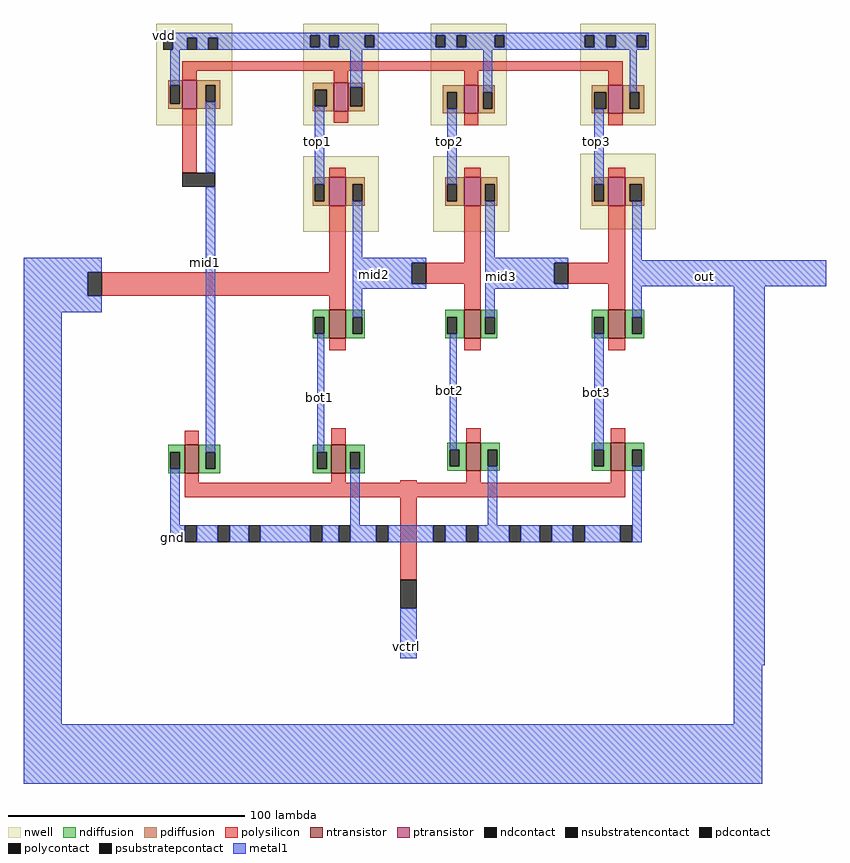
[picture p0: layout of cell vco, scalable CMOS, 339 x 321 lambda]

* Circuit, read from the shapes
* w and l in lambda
.subckt vco bot1 bot2 bot3 gnd mid1 mid2 mid3 out top1 top2 top3 vctrl vdd
M1 mid1 vctrl gnd gnd nfet w=12 l=6
M2 mid2 out bot1 gnd nfet w=12 l=7
M3 gnd vctrl bot1 gnd nfet w=12 l=6
M4 mid3 mid2 bot2 gnd nfet w=12 l=7
M5 gnd vctrl bot2 gnd nfet w=12 l=6
M6 out mid3 bot3 gnd nfet w=12 l=7
M7 gnd vctrl bot3 gnd nfet w=12 l=6
M8 mid1 mid1 vdd vdd pfet w=12 l=6
M9 mid2 out top1 n1 pfet w=12 l=7
M10 vdd mid1 top1 vdd pfet w=12 l=6
M11 mid3 mid2 top2 n2 pfet w=12 l=7
M12 vdd mid1 top2 vdd pfet w=12 l=6
M13 out mid3 top3 n3 pfet w=12 l=7
M14 vdd mid1 top3 vdd pfet w=12 l=6
.ends

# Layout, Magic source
magic
tech scmos
<< nwell >>
rect -103 65 -71 108
rect -41 65 -9 108
rect 13 65 45 108
rect 76 65 108 108
rect -41 20 -9 52
rect 14 20 46 52
rect 76 21 108 53
<< polysilicon >>
rect -92 88 94 92
rect -92 84 -86 88
rect -28 83 -22 88
rect -92 45 -86 72
rect 27 82 33 88
rect 88 82 94 88
rect -28 66 -22 71
rect 27 65 33 70
rect 88 65 94 70
rect -30 43 -23 47
rect 27 43 34 47
rect 88 43 95 47
rect -30 3 -23 31
rect 27 7 34 31
rect 88 7 95 31
rect -126 -7 -23 3
rect 11 -2 34 7
rect 71 -2 95 7
rect -30 -13 -23 -7
rect 27 -13 34 -2
rect 88 -13 95 -2
rect -30 -30 -23 -25
rect 27 -30 34 -25
rect 88 -30 95 -25
rect -91 -70 -85 -64
rect -29 -70 -23 -63
rect 28 -69 34 -63
rect 89 -69 95 -63
rect -91 -86 -85 -82
rect -29 -86 -23 -82
rect 0 -86 7 -85
rect 28 -86 34 -81
rect 89 -86 95 -81
rect -91 -92 95 -86
rect 0 -127 7 -92
<< ndiffusion >>
rect -37 -16 -30 -13
rect -37 -23 -36 -16
rect -32 -23 -30 -16
rect -37 -25 -30 -23
rect -23 -16 -15 -13
rect -23 -23 -20 -16
rect -16 -23 -15 -16
rect -23 -25 -15 -23
rect 19 -16 27 -13
rect 19 -23 20 -16
rect 24 -23 27 -16
rect 19 -25 27 -23
rect 34 -16 41 -13
rect 34 -23 36 -16
rect 40 -23 41 -16
rect 34 -25 41 -23
rect 81 -16 88 -13
rect 81 -23 82 -16
rect 86 -23 88 -16
rect 81 -25 88 -23
rect 95 -16 103 -13
rect 95 -23 98 -16
rect 102 -23 103 -16
rect 95 -25 103 -23
rect -98 -73 -91 -70
rect -98 -80 -97 -73
rect -93 -80 -91 -73
rect -98 -82 -91 -80
rect -85 -73 -76 -70
rect -85 -80 -82 -73
rect -78 -80 -76 -73
rect -85 -82 -76 -80
rect -37 -73 -29 -70
rect -37 -80 -35 -73
rect -31 -80 -29 -73
rect -37 -82 -29 -80
rect -23 -73 -15 -70
rect -23 -80 -21 -73
rect -17 -80 -15 -73
rect -23 -82 -15 -80
rect 20 -72 28 -69
rect 20 -79 21 -72
rect 25 -79 28 -72
rect 20 -81 28 -79
rect 34 -72 42 -69
rect 34 -79 37 -72
rect 41 -79 42 -72
rect 34 -81 42 -79
rect 81 -72 89 -69
rect 81 -79 82 -72
rect 86 -79 89 -72
rect 81 -81 89 -79
rect 95 -72 103 -69
rect 95 -79 98 -72
rect 102 -79 103 -72
rect 95 -81 103 -79
<< pdiffusion >>
rect -98 82 -92 84
rect -98 74 -97 82
rect -93 74 -92 82
rect -98 72 -92 74
rect -86 82 -76 84
rect -86 75 -82 82
rect -78 75 -76 82
rect -86 72 -76 75
rect -37 80 -28 83
rect -37 73 -36 80
rect -31 73 -28 80
rect -37 71 -28 73
rect -22 81 -15 83
rect -22 73 -21 81
rect -16 73 -15 81
rect -22 71 -15 73
rect 18 79 27 82
rect 18 72 20 79
rect 24 72 27 79
rect 18 70 27 72
rect 33 79 40 82
rect 33 72 35 79
rect 39 72 40 79
rect 33 70 40 72
rect 81 79 88 82
rect 81 72 82 79
rect 87 72 88 79
rect 81 70 88 72
rect 94 79 103 82
rect 94 72 97 79
rect 101 72 103 79
rect 94 70 103 72
rect -37 40 -30 43
rect -37 33 -36 40
rect -32 33 -30 40
rect -37 31 -30 33
rect -23 40 -15 43
rect -23 33 -20 40
rect -16 33 -15 40
rect -23 31 -15 33
rect 19 40 27 43
rect 19 33 20 40
rect 24 33 27 40
rect 19 31 27 33
rect 34 40 41 43
rect 34 33 36 40
rect 40 33 41 40
rect 34 31 41 33
rect 81 40 88 43
rect 81 33 82 40
rect 86 33 88 40
rect 81 31 88 33
rect 95 40 103 43
rect 95 33 97 40
rect 102 33 103 40
rect 95 31 103 33
<< metal1 >>
rect -100 103 105 104
rect -100 102 -38 103
rect -96 97 -90 102
rect -86 97 -81 102
rect -77 98 -38 102
rect -34 98 -30 103
rect -26 98 -15 103
rect -11 98 15 103
rect 19 98 24 103
rect 28 98 40 103
rect 44 98 78 103
rect 82 98 87 103
rect 91 98 100 103
rect 104 98 105 103
rect -77 97 105 98
rect -97 82 -93 97
rect -21 81 -16 97
rect -82 45 -78 75
rect -159 3 -126 9
rect -159 -7 -132 3
rect -159 -14 -126 -7
rect -159 -188 -143 -14
rect -82 -73 -78 39
rect 35 79 39 97
rect 97 79 100 97
rect -36 40 -32 73
rect 20 40 24 72
rect 82 40 86 72
rect -20 9 -16 33
rect 36 9 40 33
rect -20 7 11 9
rect -20 -2 5 7
rect -20 -4 11 -2
rect 36 7 71 9
rect 36 -2 65 7
rect 36 -4 71 -2
rect 98 8 102 33
rect 98 -3 180 8
rect -20 -16 -16 -4
rect 36 -16 40 -4
rect 98 -16 102 -3
rect -35 -73 -32 -23
rect 21 -72 24 -23
rect 82 -72 86 -23
rect -97 -104 -93 -80
rect -21 -104 -17 -80
rect 37 -104 41 -79
rect -97 -111 -91 -104
rect -86 -111 -77 -104
rect -72 -111 -64 -104
rect -59 -111 -38 -104
rect -33 -111 -26 -104
rect -21 -111 -10 -104
rect -5 -111 14 -104
rect 19 -111 28 -104
rect 33 -111 46 -104
rect 51 -111 59 -104
rect 64 -111 73 -104
rect 78 -111 93 -104
rect 98 -111 102 -79
rect 0 -160 7 -139
rect 141 -163 154 -3
rect 141 -188 153 -163
rect -159 -213 153 -188
<< ntransistor >>
rect -30 -25 -23 -13
rect 27 -25 34 -13
rect 88 -25 95 -13
rect -91 -82 -85 -70
rect -29 -82 -23 -70
rect 28 -81 34 -69
rect 89 -81 95 -69
<< ptransistor >>
rect -92 72 -86 84
rect -28 71 -22 83
rect 27 70 33 82
rect 88 70 94 82
rect -30 31 -23 43
rect 27 31 34 43
rect 88 31 95 43
<< polycontact >>
rect -92 39 -78 45
rect -132 -7 -126 3
rect 5 -2 11 7
rect 65 -2 71 7
rect 0 -139 7 -127
<< ndcontact >>
rect -36 -23 -32 -16
rect -20 -23 -16 -16
rect 20 -23 24 -16
rect 36 -23 40 -16
rect 82 -23 86 -16
rect 98 -23 102 -16
rect -97 -80 -93 -73
rect -82 -80 -78 -73
rect -35 -80 -31 -73
rect -21 -80 -17 -73
rect 21 -79 25 -72
rect 37 -79 41 -72
rect 82 -79 86 -72
rect 98 -79 102 -72
<< pdcontact >>
rect -97 74 -93 82
rect -82 75 -78 82
rect -36 73 -31 80
rect -21 73 -16 81
rect 20 72 24 79
rect 35 72 39 79
rect 82 72 87 79
rect 97 72 101 79
rect -36 33 -32 40
rect -20 33 -16 40
rect 20 33 24 40
rect 36 33 40 40
rect 82 33 86 40
rect 97 33 102 40
<< psubstratepcontact >>
rect -91 -111 -86 -104
rect -77 -111 -72 -104
rect -64 -111 -59 -104
rect -38 -111 -33 -104
rect -26 -111 -21 -104
rect -10 -111 -5 -104
rect 14 -111 19 -104
rect 28 -111 33 -104
rect 46 -111 51 -104
rect 59 -111 64 -104
rect 73 -111 78 -104
rect 93 -111 98 -104
<< nsubstratencontact >>
rect -100 97 -96 102
rect -90 97 -86 102
rect -81 97 -77 102
rect -38 98 -34 103
rect -30 98 -26 103
rect -15 98 -11 103
rect 15 98 19 103
rect 24 98 28 103
rect 40 98 44 103
rect 78 98 82 103
rect 87 98 91 103
rect 100 98 104 103
<< labels >>
rlabel metal1 -100 103 -99 103 5 vdd
rlabel metal1 2 -155 3 -155 1 vctrl
rlabel metal1 128 1 129 1 1 out
rlabel metal1 -96 -109 -96 -109 1 gnd
rlabel metal1 -82 7 -82 7 1 mid1
rlabel metal1 -11 2 -11 2 1 mid2
rlabel metal1 43 1 43 1 1 mid3
rlabel metal1 -35 58 -35 58 1 top1
rlabel metal1 21 58 21 58 1 top2
rlabel metal1 83 58 83 58 1 top3
rlabel metal1 -34 -50 -34 -50 1 bot1
rlabel metal1 21 -47 21 -47 1 bot2
rlabel metal1 83 -48 83 -48 1 bot3
<< end >>
